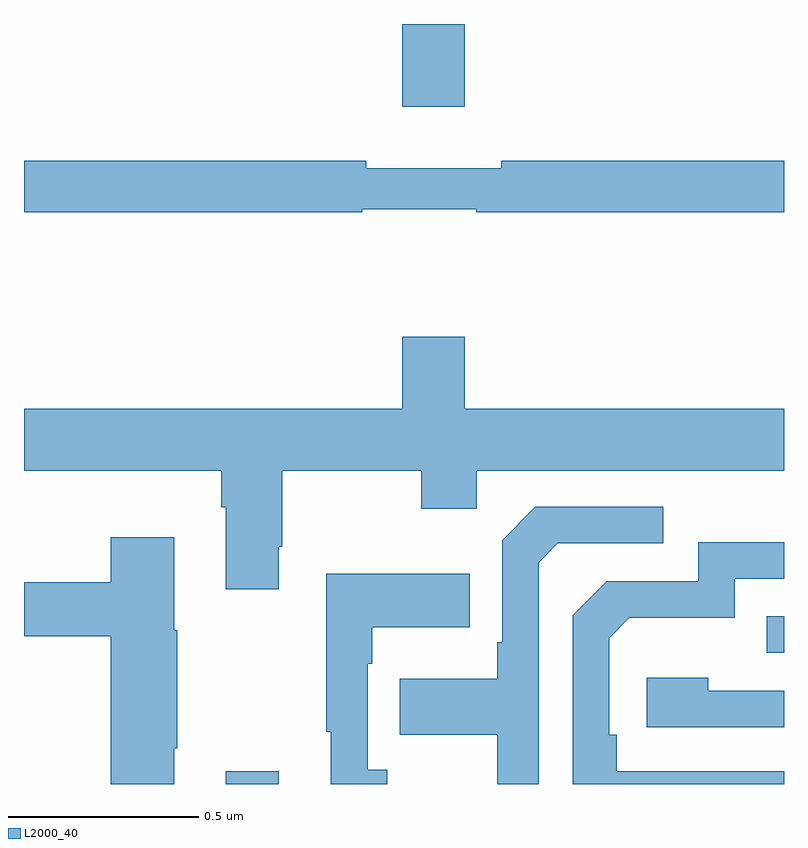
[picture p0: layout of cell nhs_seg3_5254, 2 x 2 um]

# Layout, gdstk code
import gdstk
lib = gdstk.Library(unit=1e-6, precision=1e-09)
def R(c, l, rs):  # rectangles x0, y0, x1, y1
    for r in rs: c.add(gdstk.rectangle(r[:2], r[2:], *l))
def P(c, l, *ps):  # polygons
    for p in ps: c.add(gdstk.Polygon(p, *l))
L2000_40 = (2000, 40)

nhs_seg3_5254 = lib.new_cell('nhs_seg3_5254')
R(nhs_seg3_5254, L2000_40, [(176.531,725.4,176.671,725.434), (177.955,725.745,178,725.841), (176.996,727.182,177.16,727.4)])
P(nhs_seg3_5254, L2000_40, [(176.89,726.912),(177.19,726.912),(177.19,726.904),(178,726.904),(178,727.04),(177.256,727.04),(177.256,727.021),(176.9,727.021),(176.9,727.04),(176,727.04),(176,726.904),(176.89,726.904)],
  [(176.671,726.025),(176.679,726.025),(176.679,726.224),(177.046,726.224),(177.046,726.125),(177.192,726.125),(177.192,726.224),(178,726.224),(178,726.388),(177.16,726.388),(177.16,726.577),(176.996,726.577),(176.996,726.388),(176,726.388),(176,726.224),(176.519,726.224),(176.519,726.128),(176.531,726.128),(176.531,725.913),(176.671,725.913)],
  [(177.354,725.982),(177.405,726.033),(177.682,726.033),(177.682,726.129),(177.345,726.129),(177.258,726.042),(177.258,725.773),(177.246,725.773),(177.246,725.677),(176.989,725.677),(176.989,725.53),(177.246,725.53),(177.246,725.4),(177.354,725.4)],
  [(176.395,725.494),(176.403,725.494),(176.403,725.805),(176.395,725.805),(176.395,726.049),(176.228,726.049),(176.228,725.931),(176,725.931),(176,725.789),(176.228,725.789),(176.228,725.4),(176.395,725.4)],
  [(178,725.433),(177.56,725.433),(177.56,725.53),(177.54,725.53),(177.54,725.784),(177.593,725.837),(177.87,725.837),(177.87,725.94),(178,725.94),(178,726.036),(177.774,726.036),(177.774,725.934),(177.534,725.934),(177.444,725.844),(177.444,725.4),(178,725.4)],
  [(176.956,725.438),(176.904,725.438),(176.904,725.717),(176.917,725.717),(176.917,725.813),(177.173,725.813),(177.173,725.953),(176.796,725.953),(176.796,725.537),(176.807,725.537),(176.807,725.4),(176.956,725.4)],
  [(178,725.646),(177.8,725.646),(177.8,725.68),(177.639,725.68),(177.639,725.55),(178,725.55)])

lib.write_gds('nhs_seg3_5254.gds')
